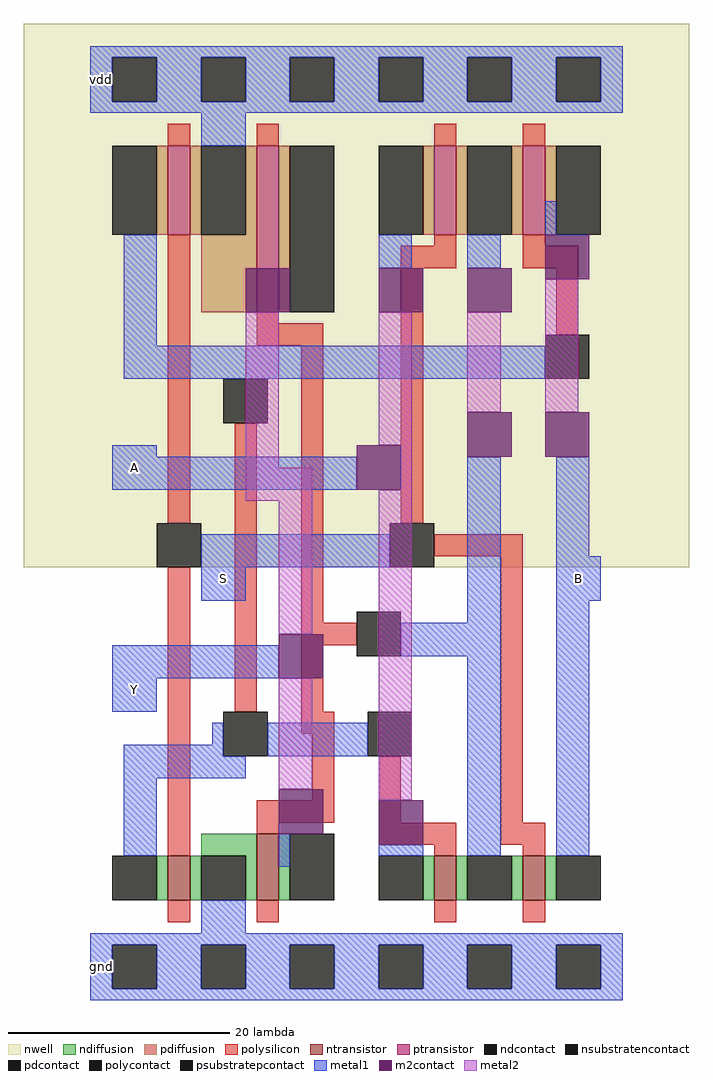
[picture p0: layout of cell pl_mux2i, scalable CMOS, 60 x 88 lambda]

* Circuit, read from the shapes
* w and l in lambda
.subckt pl_mux2i A B S Y vdd gnd
M1 gnd S n1 gnd nfet w=4 l=2
M2 Y n2 gnd gnd nfet w=6 l=2
M3 n2 n1 A gnd nfet w=4 l=2
M4 B S n2 gnd nfet w=4 l=2
M5 vdd S n1 vdd pfet w=8 l=2
M6 Y n2 vdd vdd pfet w=15 l=2
M7 n2 S A vdd pfet w=8 l=2
M8 B n1 n2 vdd pfet w=8 l=2
.ends

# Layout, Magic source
magic
tech scmos
<< nwell >>
rect -6 36 54 85
<< ndiffusion >>
rect 6 6 7 10
rect 9 6 10 10
rect 14 6 15 10
rect 17 6 18 12
rect 30 6 31 10
rect 33 6 34 10
rect 38 6 39 10
rect 41 6 42 10
rect 10 10 15 12
<< pdiffusion >>
rect 10 59 15 66
rect 17 59 18 74
rect 6 66 7 74
rect 9 66 10 74
rect 14 66 15 74
rect 30 66 31 74
rect 33 66 34 74
rect 38 66 39 74
rect 41 66 42 74
<< polysilicon >>
rect 7 4 9 6
rect 15 4 17 6
rect 31 4 33 6
rect 39 4 41 6
rect 7 10 9 36
rect 31 10 33 11
rect 39 10 41 11
rect 26 11 33 13
rect 37 11 41 13
rect 15 12 17 13
rect 15 13 22 15
rect 26 13 28 19
rect 37 13 39 37
rect 20 15 22 21
rect 19 21 22 23
rect 13 23 15 49
rect 19 23 21 29
rect 19 29 24 31
rect 19 31 21 56
rect 31 37 39 39
rect 7 40 9 66
rect 28 40 30 63
rect 15 56 21 58
rect 42 57 44 63
rect 15 58 17 59
rect 28 63 33 65
rect 39 63 44 65
rect 31 65 33 66
rect 39 65 41 66
rect 7 74 9 76
rect 15 74 17 76
rect 31 74 33 76
rect 39 74 41 76
<< ntransistor >>
rect 7 6 9 10
rect 15 6 17 12
rect 31 6 33 10
rect 39 6 41 10
<< ptransistor >>
rect 15 59 17 74
rect 7 66 9 74
rect 31 66 33 74
rect 39 66 41 74
<< ndcontact >>
rect 2 6 6 10
rect 10 6 14 10
rect 18 6 22 12
rect 26 6 30 10
rect 34 6 38 10
rect 42 6 46 10
<< pdcontact >>
rect 18 59 22 74
rect 2 66 6 74
rect 10 66 14 74
rect 26 66 30 74
rect 34 66 38 74
rect 42 66 46 74
<< polycontact >>
rect 12 19 16 23
rect 25 19 29 23
rect 24 28 28 32
rect 6 36 10 40
rect 27 36 31 40
rect 12 49 16 53
rect 41 53 45 57
<< psubstratepcontact >>
rect 2 -2 6 2
rect 10 -2 14 2
rect 18 -2 22 2
rect 26 -2 30 2
rect 34 -2 38 2
rect 42 -2 46 2
<< nsubstratencontact >>
rect 2 78 6 82
rect 10 78 14 82
rect 18 78 22 82
rect 26 78 30 82
rect 34 78 38 82
rect 42 78 46 82
<< metal1 >>
rect 0 -3 48 -2
rect 0 -2 2 2
rect 6 -2 10 2
rect 14 -2 18 2
rect 22 -2 26 2
rect 30 -2 34 2
rect 38 -2 42 2
rect 46 -2 48 2
rect 0 2 48 3
rect 10 3 14 6
rect 17 9 18 12
rect 3 10 6 17
rect 26 10 30 11
rect 34 10 37 28
rect 42 10 45 33
rect 3 17 14 19
rect 3 19 12 20
rect 16 19 25 22
rect 11 20 12 22
rect 2 23 6 26
rect 2 26 17 29
rect 28 28 37 31
rect 34 31 37 46
rect 10 33 14 36
rect 42 33 46 37
rect 10 36 27 39
rect 42 37 45 46
rect 2 43 24 46
rect 2 46 6 47
rect 3 53 41 56
rect 3 56 6 66
rect 26 63 29 66
rect 34 63 37 66
rect 41 66 42 69
rect 10 74 14 77
rect 0 77 48 78
rect 0 78 2 82
rect 6 78 10 82
rect 14 78 18 82
rect 22 78 26 82
rect 30 78 34 82
rect 38 78 42 82
rect 46 78 48 82
rect 0 82 48 83
<< m2contact >>
rect 26 11 30 15
rect 17 12 21 16
rect 17 26 21 30
rect 24 43 28 47
rect 34 46 38 50
rect 41 46 45 50
rect 14 59 18 63
rect 26 59 30 63
rect 34 59 38 63
rect 41 62 45 66
<< metal2 >>
rect 26 15 29 43
rect 17 16 20 26
rect 17 30 20 42
rect 14 42 20 45
rect 28 43 29 47
rect 14 45 17 59
rect 26 47 29 59
rect 34 50 37 59
rect 41 50 44 62
<< labels >>
rlabel metal1 s 2 43 6 47 0 A
port 1 nsew signal input
rlabel metal1 s 42 33 46 37 0 B
port 2 nsew signal input
rlabel metal1 s 10 33 14 37 0 S
port 3 nsew signal input
rlabel metal1 s 2 23 6 27 0 Y
port 4 nsew signal output
rlabel metal1 s 0 77 2 83 0 vdd
port 5 nsew power bidirectional
rlabel metal1 s 0 -3 2 3 0 gnd
port 6 nsew ground bidirectional
<< properties >>
string FIXED_BBOX 0 0 48 80
<< end >>
